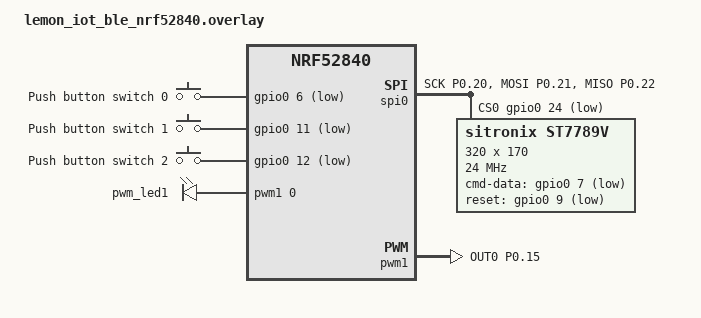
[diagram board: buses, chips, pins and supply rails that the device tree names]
// To get started, press Ctrl+Space to bring up the completion menu and view the available nodes.

// You can also use the buttons in the sidebar to perform actions on nodes.
// Actions currently available include:

// * Enabling / disabling the node
// * Adding the bus to a bus
// * Removing the node
// * Connecting ADC channels

// For more help, browse the DeviceTree documentation at https://docs.zephyrproject.org/latest/guides/dts/index.html
// You can also visit the nRF DeviceTree extension documentation at https://nrfconnect.github.io/vscode-nrf-connect/devicetree/nrfdevicetree.html

/ {
	chosen {
		zephyr,display = &st7789v;
	};

    buttons {
        compatible = "gpio-keys";
        lcd_button0: button_0 {
            gpios = <&gpio0 6 (GPIO_PULL_UP | GPIO_ACTIVE_LOW)>;
            label = "Push button switch 0";
        };
        lcd_button1: button_1 {
            gpios = <&gpio0 11 (GPIO_PULL_UP | GPIO_ACTIVE_LOW)>;
            label = "Push button switch 1";
        };
        lcd_button2: button_2 {
            gpios = <&gpio0 12 (GPIO_PULL_UP | GPIO_ACTIVE_LOW)>;
            label = "Push button switch 2";
        };        
    };

	pwmleds {
		compatible = "pwm-leds";
		pwm_led1: pwm_led_1 {
			pwms = <&pwm1 0 PWM_MSEC(20) PWM_POLARITY_NORMAL>;
		};
	};

    aliases {
		sw0 = &lcd_button0;
		sw1 = &lcd_button1;
		sw2 = &lcd_button2;
		pwm-led1 = &pwm_led1;
	};
};

&spi0 {
	compatible = "nordic,nrf-spim";
	status = "okay";
	cs-gpios = <&gpio0 24 GPIO_ACTIVE_LOW>;  /* D6 SD */

	pinctrl-0 = <&spi0_default>;
	pinctrl-1 = <&spi0_sleep>;
	pinctrl-names = "default", "sleep";


    st7789v: st7789v@0 {
		compatible = "sitronix,st7789v";
		label = "ST7789V";
		spi-max-frequency = <24000000>;
		reg = <0>;
		cmd-data-gpios = <&gpio0 7 GPIO_ACTIVE_LOW>;	/* D9 */
		reset-gpios = <&gpio0 9 GPIO_ACTIVE_LOW>;	/* D10 */
		width = <320>; // 170 for portrait, 320 for landscape
		height = <170>; // 320 for portrait, 170 for landscape
		x-offset = <0>; // 35 for portrait, 0 for landscape
		y-offset = <35>; // 0 for portrait, 35 for landscape
		vcom = <0x2b>;
		gctrl = <0x35>;
		vrhs = <0x0f>;
		vdvs = <0x20>;
		mdac = <0xA0>; // 0xC0 for portrait, 0xA0 for landscape
		gamma = <0x01>;
		colmod = <0x55>;
		lcm = <0x2c>;
		porch-param = [0c 0c 00 33 33];
		cmd2en-param = [5a 69 02 01];
		pwctrl1-param = [52 a1];
		pvgam-param = [D0 00 02 07 0B 1A 31 54 40 29 12 12 12 17];
		nvgam-param = [D0 00 02 07 05 15 2D 44 44 1C 18 16 1C 1D];
		ram-param = [00 F8];
		rgb-param = [CD 08 14];
	};
};

&pwm1 {
	status = "okay";
	pinctrl-0 = <&pwm1_default>;
	pinctrl-1 = <&pwm1_sleep>;
	pinctrl-names = "default", "sleep";
};

&pinctrl {   

	pwm1_default: pwm1_default {
		group1 {
			psels = <NRF_PSEL(PWM_OUT0, 0, 15)>;
		};
	};

	pwm1_sleep: pwm1_sleep {
		group1 {
			psels = <NRF_PSEL(PWM_OUT0, 0, 15)>;
		};
	};

	spi0_default: spi0_default {
		group1 {
			psels = <NRF_PSEL(SPIM_SCK, 0, 20)>,
				<NRF_PSEL(SPIM_MOSI, 0, 21)>,
				<NRF_PSEL(SPIM_MISO, 0, 22)>;
		};
	};

	spi0_sleep: spi0_sleep {
		group1 {
			psels = <NRF_PSEL(SPIM_SCK, 0, 20)>,
				<NRF_PSEL(SPIM_MOSI, 0, 21)>,
				<NRF_PSEL(SPIM_MISO, 0, 22)>;
			low-power-enable;
		};
	};
};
